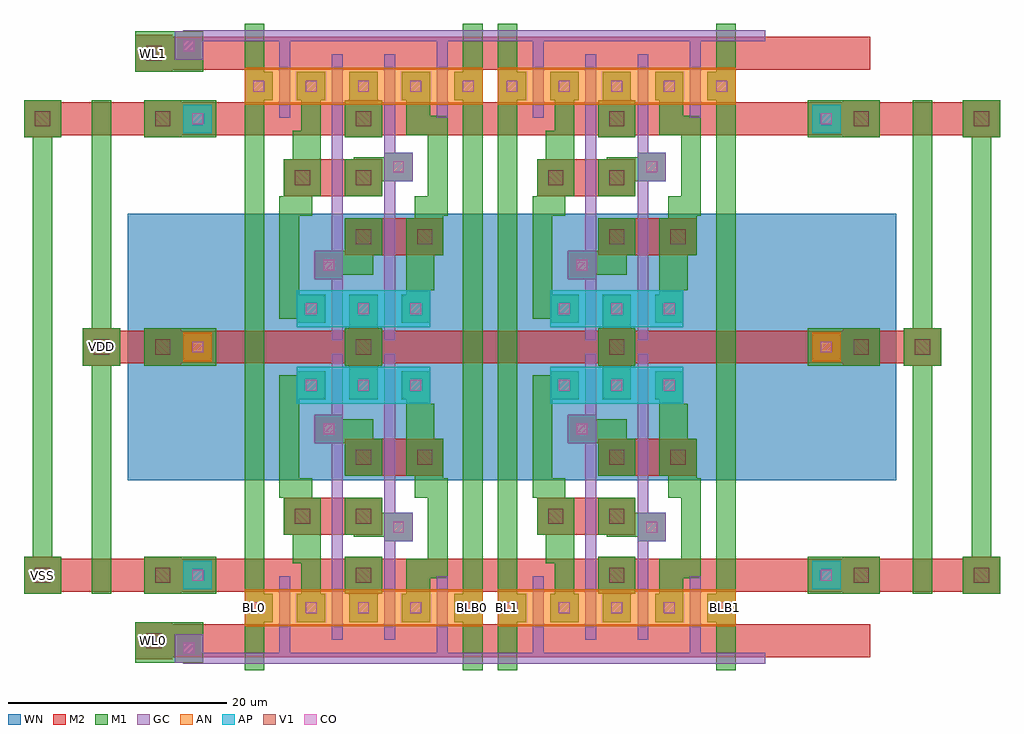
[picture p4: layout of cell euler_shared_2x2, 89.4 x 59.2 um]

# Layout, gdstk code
import gdstk
lib = gdstk.Library(unit=1e-6, precision=1e-07)
def R(c, l, rs):  # rectangles x0, y0, x1, y1
    for r in rs: c.add(gdstk.rectangle(r[:2], r[2:], *l))
def A(c, l, x, y, w, h, nx, ny, dx, dy):  # array of equal rectangles
    R(c, l, [(x+i*dx, y+j*dy, x+i*dx+w, y+j*dy+h) for i in range(nx) for j in range(ny)])
def P(c, l, *ps):  # polygons
    for p in ps: c.add(gdstk.Polygon(p, *l))
AP = (3, 1)
AN = (3, 2)
GC = (8, 1)
CO = (11, 0)
M1 = (13, 0)
V1 = (19, 0)
M2 = (20, 0)
WN = (140, 0)

euler = lib.new_cell('euler')
R(euler, AP, [(3.5,18.7,15.7,22.1)])
R(euler, AN, [(-1.3,-1.7,20.5,1.7)])
R(euler, GC, [(0,-5.1,23.2,-4.1), (1.9,-5.1,2.9,2.9), (16.3,-5.1,17.3,2.9), (6.7,-2.9,7.7,23.3), (11.5,-2.9,12.5,23.3), (11.5,6.1,14.1,8.7), (11.5,6.9,13.3,7.9), (5.1,15.1,7.7,17.7), (5.9,15.9,7.7,16.9)])
A(euler, CO, -0.5, -0.5, 1, 1, 5, 1, 4.8, 0)
A(euler, CO, 4.3, 19.9, 1, 1, 3, 1, 4.8, 0)
R(euler, CO, [(12.3,6.9,13.3,7.9), (5.9,15.9,6.9,16.9)])
P(euler, M1, [(8.3,-1.3),(8.3,1.3),(7.9,1.3),(7.9,4.7),(11.3,4.7),(11.3,1.3),(10.9,1.3),(10.9,-1.3)],
  [(11.5,6.1),(11.5,6.5),(8.7,6.5),(8.7,6.7),(7.9,6.7),(7.9,10.1),(11.3,10.1),(11.3,8.7),(14.1,8.7),(14.1,6.1)],
  [(7.9,12.1),(7.9,15.1),(5.1,15.1),(5.1,17.7),(7.7,17.7),(7.7,17.3),(10.5,17.3),(10.5,15.5),(11.3,15.5),(11.3,12.1)],
  [(3.5,-1.3),(3.5,1.3),(3.9,1.3),(3.9,4.1),(3.1,4.1),(3.1,6.7),(2.3,6.7),(2.3,10.1),(1.9,10.1),(1.9,21.3),(3.5,21.3),(3.5,21.7),(6.1,21.7),(6.1,19.1),(3.7,19.1),(3.7,11.9),(4.9,11.9),(4.9,10.1),(5.7,10.1),(5.7,1.3),(6.1,1.3),(6.1,-1.3)],
  [(13.1,-1.3),(13.1,1.3),(13.5,1.3),(13.5,4.5),(15.5,4.5),(15.5,10.1),(14.3,10.1),(14.3,12.1),(13.5,12.1),(13.5,19.1),(13.1,19.1),(13.1,21.7),(15.7,21.7),(15.7,18.7),(16.1,18.7),(16.1,15.5),(16.9,15.5),(16.9,11.9),(17.3,11.9),(17.3,2.7),(15.7,2.7),(15.7,-1.3)],
  [(-1.3,-5.7),(-1.3,23.9),(0.5,23.9),(0.5,1.3),(1.3,1.3),(1.3,-1.3),(0.5,-1.3),(0.5,-5.7)],
  [(18.7,-5.7),(18.7,-1.3),(17.9,-1.3),(17.9,1.3),(18.7,1.3),(18.7,23.9),(20.5,23.9),(20.5,-5.7)],
  [(8.3,19.1),(8.3,22.2),(7.9,22.2),(7.9,25.6),(11.3,25.6),(11.3,22.2),(10.9,22.2),(10.9,19.1)])
A(euler, V1, 8.9, 2.3, 1.4, 1.4, 1, 3, 0, 5.4)
R(euler, V1, [(3.3,7.7,4.7,9.1), (14.5,13.1,15.9,14.5), (8.9,23.2,10.3,24.6)])
A(euler, M2, 7.9, 1.3, 3.4, 3.4, 1, 3, 0, 5.4)
R(euler, M2, [(0,-4.5,23.2,-1.5), (0,1.5,23.2,4.5), (2.3,6.7,5.7,10.1), (2.3,6.7,11.3,10.1), (7.9,12.1,16.9,15.5), (13.5,12.1,16.9,15.5), (7.9,22.2,11.3,25.6), (0,22.4,23.2,25.4)])
R(euler, WN, [(-3.5,11.7,26.7,29.1)])

euler_shared_2x2 = lib.new_cell('euler_shared_2x2')
R(euler_shared_2x2, AP, [(-6.9,7.4,-4.3,10), (50.7,7.4,53.3,10), (-6.9,49.2,-4.3,51.8), (50.7,49.2,53.3,51.8)])
R(euler_shared_2x2, AN, [(-6.9,28.3,-4.3,30.9), (50.7,28.3,53.3,30.9)])
R(euler_shared_2x2, GC, [(-6.9,0.6,-5.9,2.5), (-6.4,0.6,0,1.6), (-7.7,0.7,-5.1,3.3), (-7.7,55.9,-5.1,58.5), (-6.9,56.7,-5.9,58.6), (-6.4,57.6,0,58.6)])
A(euler_shared_2x2, CO, -6.1, 8.2, 1, 1, 1, 3, 0, 20.9)
A(euler_shared_2x2, CO, 51.5, 8.2, 1, 1, 1, 3, 0, 20.9)
R(euler_shared_2x2, CO, [(-6.9,1.5,-5.9,2.5), (-6.9,56.7,-5.9,57.7)])
A(euler_shared_2x2, M1, -10.5, 7, 3.4, 3.4, 1, 3, 0, 20.9)
A(euler_shared_2x2, M1, -10.5, 7, 6.6, 3.4, 1, 3, 0, 20.9)
A(euler_shared_2x2, M1, 50.3, 7, 6.6, 3.4, 1, 3, 0, 20.9)
A(euler_shared_2x2, M1, 53.5, 7, 3.4, 3.4, 1, 3, 0, 20.9)
A(euler_shared_2x2, M1, -6.9, 7.4, 2.6, 2.6, 1, 3, 0, 20.9)
A(euler_shared_2x2, M1, 50.7, 7.4, 2.6, 2.6, 1, 3, 0, 20.9)
R(euler_shared_2x2, M1, [(-11.3,0.7,-5.1,4.4), (-7.7,0.7,-5.1,3.3), (-11.3,1,-7.9,4.4), (-21.5,7,-18.1,10.4), (-20.7,7,-18.9,52.2), (-15.3,7,-13.5,52.2), (59.9,7,61.7,52.2), (64.5,7,67.9,10.4), (65.3,7,67.1,52.2), (-16.1,27.9,-12.7,31.3), (59.1,27.9,62.5,31.3), (-21.5,48.8,-18.1,52.2), (64.5,48.8,67.9,52.2), (-11.3,54.8,-7.9,58.2), (-11.3,54.8,-5.1,58.5), (-7.7,55.9,-5.1,58.5)])
A(euler_shared_2x2, V1, -9.5, 8, 1.4, 1.4, 1, 3, 0, 20.9)
A(euler_shared_2x2, V1, 54.5, 8, 1.4, 1.4, 1, 3, 0, 20.9)
R(euler_shared_2x2, V1, [(-10.3,2,-8.9,3.4), (-20.5,8,-19.1,9.4), (65.5,8,66.9,9.4), (-15.1,28.9,-13.7,30.3), (60.1,28.9,61.5,30.3), (-20.5,49.8,-19.1,51.2), (65.5,49.8,66.9,51.2), (-10.3,55.8,-8.9,57.2)])
A(euler_shared_2x2, M2, -10.5, 7, 3.4, 3.4, 1, 3, 0, 20.9)
A(euler_shared_2x2, M2, 53.5, 7, 3.4, 3.4, 1, 3, 0, 20.9)
R(euler_shared_2x2, M2, [(-11.3,1,-7.9,4.4), (-9.6,1.2,56,4.2), (-21.5,7,-18.1,10.4), (64.5,7,67.9,10.4), (-21.5,7.2,48.1,10.2), (-1.7,7.2,67.9,10.2), (-16.1,27.9,-12.7,31.3), (59.1,27.9,62.5,31.3), (-16.1,28.1,48.1,31.1), (-1.7,28.1,62.5,31.1), (-21.5,48.8,-18.1,52.2), (64.5,48.8,67.9,52.2), (-21.5,49,48.1,52), (-1.7,49,67.9,52), (-11.3,54.8,-7.9,58.2), (-9.6,55,56,58)])
R(euler_shared_2x2, WN, [(-12,17.4,58.4,41.8), (0,17.4,58.4,41.8)])
euler_shared_2x2.add(gdstk.Reference(euler, (0,5.7)))
euler_shared_2x2.add(gdstk.Reference(euler, (23.2,5.7)))
euler_shared_2x2.add(gdstk.Reference(euler, (0,53.5), x_reflection=True))
euler_shared_2x2.add(gdstk.Reference(euler, (23.2,53.5), x_reflection=True))
euler_shared_2x2.add(gdstk.Label('WL0', (-9.6,2.7), layer=49, texttype=0))
euler_shared_2x2.add(gdstk.Label('WL1', (-9.6,56.5), layer=49, texttype=0))
euler_shared_2x2.add(gdstk.Label('VDD', (-14.4,29.6), layer=48, texttype=0))
euler_shared_2x2.add(gdstk.Label('VSS', (-19.8,8.7), layer=48, texttype=0))
euler_shared_2x2.add(gdstk.Label('BL0', (-0.4,5.7), layer=48, texttype=0))
euler_shared_2x2.add(gdstk.Label('BLB0', (19.6,5.7), layer=48, texttype=0))
euler_shared_2x2.add(gdstk.Label('BL1', (22.8,5.7), layer=48, texttype=0))
euler_shared_2x2.add(gdstk.Label('BLB1', (42.8,5.7), layer=48, texttype=0))

lib.write_gds('euler_shared_2x2.gds')
